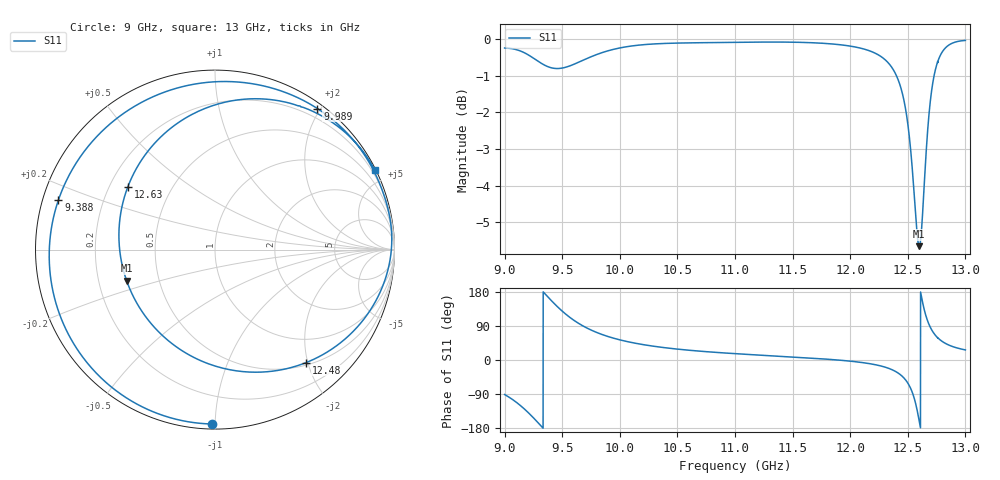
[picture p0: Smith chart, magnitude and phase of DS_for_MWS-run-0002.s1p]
! TOUCHSTONE file generated by CST DESIGN STUDIO
! Date and time: Tue Feb  4 16:48:17 2025
! Project name: C:\Work\MatlabApps\UnitCellOptimizationMatlab\CST\unitcell.cst
! Tree item: Tasks\Sweep1\SPara1\S-Parameters
! Header version: 2024
! Port assignment regex: !\s*Touchstone port\s*([0-9]+)\s*=\s*(CST MWS port|CST DES external port|CST DES block port)\s*(.+)\s* \(\"(.*)\"\)(\s*mode\s*([0-9]+))?.*
! Touchstone port assignment:
! Touchstone port 1 = CST DES external port 1 ("")
# GHz S MA R 50
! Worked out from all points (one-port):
!   4001 points, 9 GHz to 13 GHz, reference 50 ohm
!   lowest |S11| = -5.6 dB at 12.6 GHz (marker M1), VSWR 3.18, Z = 16.1 - j7.65 ohm
!   |S11| at or under -10 dB: nowhere
!   S11 on the Smith chart (normalised r, x): 9 GHz: 0.03, -0.98; 9.388 GHz: 0.05, +0.15; 9.989 GHz: 0.07, +1.96; 12.48 GHz: 0.54, -1.97; 12.63 GHz: 0.28, +0.30; 13 GHz: 0.05, +4.23
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9  0.9718 -91.1
9.096  0.9673 -110.3
9.179  0.9561 -131.3
9.289  0.9326 -165.0
9.388  0.915 162.4
9.5  0.9125 129.0
9.583  0.9209 108.7
9.679  0.9349 90.1
9.825  0.9553 69.6
9.989  0.9711 54.0
10  0.9719 53.2
10.5  0.9869 28.7
11  0.9893 16.7
11.5  0.9896 7.9
12  0.9776 -3.0
12.329  0.9281 -21.5
12.415  0.8807 -34.2
12.477  0.8088 -51.1
12.5  0.7662 -60.8
12.554  0.6184 -99.1
12.599  0.522 -160.7
12.634  0.5984 144.3
12.663  0.7153 111.1
12.692  0.8128 88.5
12.735  0.9015 67.0
12.782  0.9494 52.7
12.87  0.9838 37.7
13  0.995 26.6
